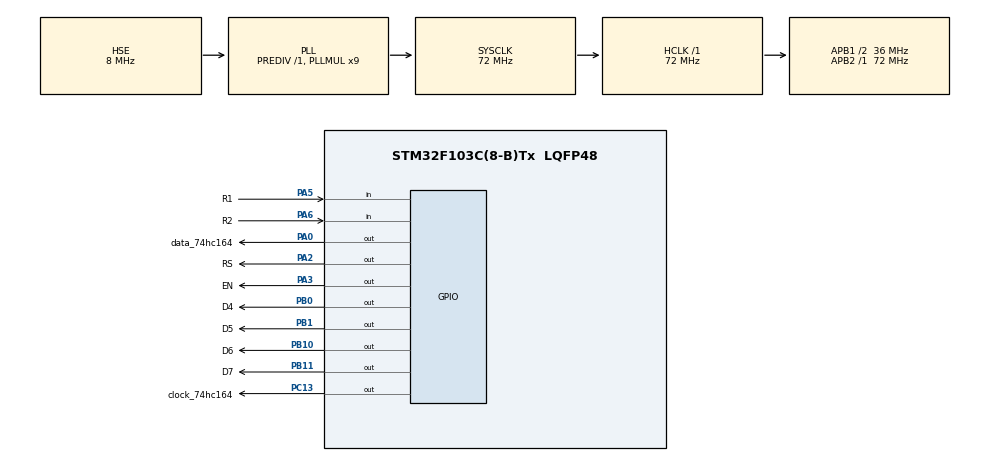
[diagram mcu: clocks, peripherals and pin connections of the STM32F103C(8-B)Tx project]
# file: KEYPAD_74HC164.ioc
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Mcu.Family=STM32F1
Mcu.Name=STM32F103C(8-B)Tx
Mcu.Package=LQFP48
NVIC.PriorityGroup=NVIC_PRIORITYGROUP_4
PA0-WKUP.GPIO_Label=data_74hc164
PA0-WKUP.Signal=GPIO_Output
PA13.Mode=Serial_Wire
PA13.Signal=SYS_JTMS-SWDIO
PA14.Mode=Serial_Wire
PA14.Signal=SYS_JTCK-SWCLK
PA2.GPIO_Label=RS
PA2.Signal=GPIO_Output
PA3.GPIO_Label=EN
PA3.Signal=GPIO_Output
PA5.GPIO_Label=R1
PA5.GPIO_PuPd=GPIO_PULLUP
PA5.Signal=GPIO_Input
PA6.GPIO_Label=R2
PA6.GPIO_PuPd=GPIO_PULLUP
PA6.Signal=GPIO_Input
PB0.GPIO_Label=D4
PB0.Signal=GPIO_Output
PB1.GPIO_Label=D5
PB1.Signal=GPIO_Output
PB10.GPIO_Label=D6
PB10.Signal=GPIO_Output
PB11.GPIO_Label=D7
PB11.Signal=GPIO_Output
PC13-TAMPER-RTC.GPIO_Label=clock_74hc164
PC13-TAMPER-RTC.Signal=GPIO_Output
PD0-OSC_IN.Mode=HSE-External-Oscillator
PD0-OSC_IN.Signal=RCC_OSC_IN
PD1-OSC_OUT.Mode=HSE-External-Oscillator
PD1-OSC_OUT.Signal=RCC_OSC_OUT
ProjectManager.HeapSize=0x200
ProjectManager.StackSize=0x400
ProjectManager.TargetToolchain=MDK-ARM V5
RCC.AHBFreq_Value=72000000
RCC.APB1CLKDivider=RCC_HCLK_DIV2
RCC.APB1Freq_Value=36000000
RCC.APB1TimFreq_Value=72000000
RCC.APB2Freq_Value=72000000
RCC.APB2TimFreq_Value=72000000
RCC.HCLKFreq_Value=72000000
RCC.PLLMUL=RCC_PLL_MUL9
RCC.PLLSourceVirtual=RCC_PLLSOURCE_HSE
RCC.SYSCLKFreq_VALUE=72000000
RCC.SYSCLKSource=RCC_SYSCLKSOURCE_PLLCLK
RCC.USBFreq_Value=72000000
board=KEYPAD_74HC164

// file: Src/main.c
/**
  ******************************************************************************
  * @file           : main.c
  * @brief          : Main program body
  ******************************************************************************
  ** This notice applies to any and all portions of this file
  * that are not between comment pairs USER CODE BEGIN and
  * USER CODE END. Other portions of this file, whether
  * inserted by the user or by software development tools
  * are owned by their respective copyright owners.
  *
  * COPYRIGHT(c) 2020 STMicroelectronics
  *
  * Redistribution and use in source and binary forms, with or without modification,
  * are permitted provided that the following conditions are met:
  *   1. Redistributions of source code must retain the above copyright notice,
  *      this list of conditions and the following disclaimer.
  *   2. Redistributions in binary form must reproduce the above copyright notice,
  *      this list of conditions and the following disclaimer in the documentation
  *      and/or other materials provided with the distribution.
  *   3. Neither the name of STMicroelectronics nor the names of its contributors
  *      may be used to endorse or promote products derived from this software
  *      without specific prior written permission.
  *
  * THIS SOFTWARE IS PROVIDED BY THE COPYRIGHT HOLDERS AND CONTRIBUTORS "AS IS"
  * AND ANY EXPRESS OR IMPLIED WARRANTIES, INCLUDING, BUT NOT LIMITED TO, THE
  * IMPLIED WARRANTIES OF MERCHANTABILITY AND FITNESS FOR A PARTICULAR PURPOSE ARE
  * DISCLAIMED. IN NO EVENT SHALL THE COPYRIGHT HOLDER OR CONTRIBUTORS BE LIABLE
  * FOR ANY DIRECT, INDIRECT, INCIDENTAL, SPECIAL, EXEMPLARY, OR CONSEQUENTIAL
  * DAMAGES (INCLUDING, BUT NOT LIMITED TO, PROCUREMENT OF SUBSTITUTE GOODS OR
  * SERVICES; LOSS OF USE, DATA, OR PROFITS; OR BUSINESS INTERRUPTION) HOWEVER
  * CAUSED AND ON ANY THEORY OF LIABILITY, WHETHER IN CONTRACT, STRICT LIABILITY,
  * OR TORT (INCLUDING NEGLIGENCE OR OTHERWISE) ARISING IN ANY WAY OUT OF THE USE
  * OF THIS SOFTWARE, EVEN IF ADVISED OF THE POSSIBILITY OF SUCH DAMAGE.
  *
  ******************************************************************************
  */
#include "main.h"
#include "stm32f1xx_hal.h"

/* USER CODE BEGIN Includes */
#include "dwt_delay.h"
/* USER CODE END Includes */

/* USER CODE BEGIN PV */
/* Private variables ---------------------------------------------------------*/
enum BIT
{
	LOW,
	HIGH
};
uint8_t key,key_last;

uint8_t lcd_col = 1,lcd_row = 1;
char key_str[2];

/* USER CODE END PV */

void SystemClock_Config(void);
static void MX_GPIO_Init(void);

/* USER CODE BEGIN PFP */
/* Private function prototypes -----------------------------------------------*/

/* USER CODE END PFP */

/* USER CODE BEGIN 0 */

void ShiftBit(enum BIT bit)
{
	HAL_GPIO_WritePin(data_74hc164_GPIO_Port,data_74hc164_Pin,(GPIO_PinState)bit);
	DWT_Delay(5);
	HAL_GPIO_WritePin(clock_74hc164_GPIO_Port,clock_74hc164_Pin,1);
	DWT_Delay(5);
	HAL_GPIO_WritePin(clock_74hc164_GPIO_Port,clock_74hc164_Pin,0);
	DWT_Delay(5);
}
void ShiftByte(uint8_t byte)
{
	uint8_t i,bit;
	for(i = 7;i!=255;i--)
	{
		bit = byte & (1<<i);
		if(bit)
			ShiftBit(1);
		else
			ShiftBit(0);
	}
}

uint8_t GetKeyPad()
{
	ShiftByte(0xff);

	ShiftBit(0);
	if(HAL_GPIO_ReadPin(R1_GPIO_Port,R1_Pin) == 0)
	{
		while(!HAL_GPIO_ReadPin(R1_GPIO_Port,R1_Pin));
		return '1';
	}
	if(HAL_GPIO_ReadPin(R2_GPIO_Port,R2_Pin) == 0)
	{
		while(!HAL_GPIO_ReadPin(R2_GPIO_Port,R2_Pin));
		return '7';
	}

	ShiftBit(1);
	if(HAL_GPIO_ReadPin(R1_GPIO_Port,R1_Pin) == 0)
	{
		while(!HAL_GPIO_ReadPin(R1_GPIO_Port,R1_Pin));
		return '2';
	}
	if(HAL_GPIO_ReadPin(R2_GPIO_Port,R2_Pin) == 0)
	{
		while(!HAL_GPIO_ReadPin(R2_GPIO_Port,R2_Pin));
		return '8';
	}

	ShiftBit(1);
	if(HAL_GPIO_ReadPin(R1_GPIO_Port,R1_Pin) == 0)
	{
		while(!HAL_GPIO_ReadPin(R1_GPIO_Port,R1_Pin));
		return '3';
	}
	if(HAL_GPIO_ReadPin(R2_GPIO_Port,R2_Pin) == 0)
	{
		while(!HAL_GPIO_ReadPin(R2_GPIO_Port,R2_Pin));
		return '9';
	}

	ShiftBit(1);
	if(HAL_GPIO_ReadPin(R1_GPIO_Port,R1_Pin) == 0)
	{
		while(!HAL_GPIO_ReadPin(R1_GPIO_Port,R1_Pin));
		return 'X';
	}
	if(HAL_GPIO_ReadPin(R2_GPIO_Port,R2_Pin) == 0)
	{
		while(!HAL_GPIO_ReadPin(R2_GPIO_Port,R2_Pin));
		return 'v';
	}

	ShiftBit(1);
	if(HAL_GPIO_ReadPin(R1_GPIO_Port,R1_Pin) == 0)
	{
		while(!HAL_GPIO_ReadPin(R1_GPIO_Port,R1_Pin));
		return '4';
	}
	if(HAL_GPIO_ReadPin(R2_GPIO_Port,R2_Pin) == 0)
	{
		while(!HAL_GPIO_ReadPin(R2_GPIO_Port,R2_Pin));
		return '<';
	}

	ShiftBit(1);
	if(HAL_GPIO_ReadPin(R1_GPIO_Port,R1_Pin) == 0)
	{
		while(!HAL_GPIO_ReadPin(R1_GPIO_Port,R1_Pin));
		return '5';
	}
	if(HAL_GPIO_ReadPin(R2_GPIO_Port,R2_Pin) == 0)
	{
		while(!HAL_GPIO_ReadPin(R2_GPIO_Port,R2_Pin));
		return '0';
	}

	ShiftBit(1);
	if(HAL_GPIO_ReadPin(R1_GPIO_Port,R1_Pin) == 0)
	{
		while(!HAL_GPIO_ReadPin(R1_GPIO_Port,R1_Pin));
		return '6';
	}
	if(HAL_GPIO_ReadPin(R2_GPIO_Port,R2_Pin) == 0)
	{
		while(!HAL_GPIO_ReadPin(R2_GPIO_Port,R2_Pin));
		return '>';
	}

	ShiftBit(1);
	if(HAL_GPIO_ReadPin(R1_GPIO_Port,R1_Pin) == 0)
	{
		while(!HAL_GPIO_ReadPin(R1_GPIO_Port,R1_Pin));
		return '^';
	}
	if(HAL_GPIO_ReadPin(R2_GPIO_Port,R2_Pin) == 0)
	{
		while(!HAL_GPIO_ReadPin(R2_GPIO_Port,R2_Pin));
		return 'O';
	}

	return 1;
}

/* USER CODE END 0 */

int main(void)
{

  /* MCU Configuration----------------------------------------------------------*/

  /* Reset of all peripherals, Initializes the Flash interface and the Systick. */
  HAL_Init();

  /* Configure the system clock */
  SystemClock_Config();

  /* Initialize all configured peripherals */
  MX_GPIO_Init();
  /* USER CODE BEGIN 2 */
	ShiftByte(0x57);
	DWT_Init();
  /* USER CODE END 2 */

  /* Infinite loop */
  /* USER CODE BEGIN WHILE */
  while (1)
  {
		key = GetKeyPad();
		if(key != 1)
		{
			key_last = key;
			sprintf(key_str,"%c",(char)key);

			lcd_col++;
			if(lcd_col == 17)
			{
				lcd_col = 1;
				lcd_row++;
				if(lcd_row == 3)
				{
					lcd_row = 1;
				}

			}
		}
  /* USER CODE END WHILE */

  }

}

void SystemClock_Config(void)
{

  RCC_OscInitTypeDef RCC_OscInitStruct;
  RCC_ClkInitTypeDef RCC_ClkInitStruct;

    /**Initializes the CPU, AHB and APB busses clocks
    */
  RCC_OscInitStruct.OscillatorType = RCC_OSCILLATORTYPE_HSE;
  RCC_OscInitStruct.HSEState = RCC_HSE_ON;
  RCC_OscInitStruct.HSEPredivValue = RCC_HSE_PREDIV_DIV1;
  RCC_OscInitStruct.HSIState = RCC_HSI_ON;
  RCC_OscInitStruct.PLL.PLLState = RCC_PLL_ON;
  RCC_OscInitStruct.PLL.PLLSource = RCC_PLLSOURCE_HSE;
  RCC_OscInitStruct.PLL.PLLMUL = RCC_PLL_MUL9;
  if (HAL_RCC_OscConfig(&RCC_OscInitStruct) != HAL_OK)
  {
    _Error_Handler(__FILE__, __LINE__);
  }

    /**Initializes the CPU, AHB and APB busses clocks
    */
  RCC_ClkInitStruct.ClockType = RCC_CLOCKTYPE_HCLK|RCC_CLOCKTYPE_SYSCLK
                              |RCC_CLOCKTYPE_PCLK1|RCC_CLOCKTYPE_PCLK2;
  RCC_ClkInitStruct.SYSCLKSource = RCC_SYSCLKSOURCE_PLLCLK;
  RCC_ClkInitStruct.AHBCLKDivider = RCC_SYSCLK_DIV1;
  RCC_ClkInitStruct.APB1CLKDivider = RCC_HCLK_DIV2;
  RCC_ClkInitStruct.APB2CLKDivider = RCC_HCLK_DIV1;

  if (HAL_RCC_ClockConfig(&RCC_ClkInitStruct, FLASH_LATENCY_2) != HAL_OK)
  {
    _Error_Handler(__FILE__, __LINE__);
  }

    /**Configure the Systick interrupt time
    */
  HAL_SYSTICK_Config(HAL_RCC_GetHCLKFreq()/1000);

    /**Configure the Systick
    */
  HAL_SYSTICK_CLKSourceConfig(SYSTICK_CLKSOURCE_HCLK);

  /* SysTick_IRQn interrupt configuration */
  HAL_NVIC_SetPriority(SysTick_IRQn, 0, 0);
}

/** Configure pins as
        * Analog
        * Input
        * Output
        * EVENT_OUT
        * EXTI
*/
static void MX_GPIO_Init(void)
{

  GPIO_InitTypeDef GPIO_InitStruct;

  /* GPIO Ports Clock Enable */
  __HAL_RCC_GPIOC_CLK_ENABLE();
  __HAL_RCC_GPIOD_CLK_ENABLE();
  __HAL_RCC_GPIOA_CLK_ENABLE();
  __HAL_RCC_GPIOB_CLK_ENABLE();

  /*Configure GPIO pin Output Level */
  HAL_GPIO_WritePin(clock_74hc164_GPIO_Port, clock_74hc164_Pin, GPIO_PIN_RESET);

  /*Configure GPIO pin Output Level */
  HAL_GPIO_WritePin(GPIOA, data_74hc164_Pin|RS_Pin|EN_Pin, GPIO_PIN_RESET);

  /*Configure GPIO pin Output Level */
  HAL_GPIO_WritePin(GPIOB, D4_Pin|D5_Pin|D6_Pin|D7_Pin, GPIO_PIN_RESET);

  /*Configure GPIO pin : clock_74hc164_Pin */
  GPIO_InitStruct.Pin = clock_74hc164_Pin;
  GPIO_InitStruct.Mode = GPIO_MODE_OUTPUT_PP;
  GPIO_InitStruct.Speed = GPIO_SPEED_FREQ_LOW;
  HAL_GPIO_Init(clock_74hc164_GPIO_Port, &GPIO_InitStruct);

  /*Configure GPIO pins : data_74hc164_Pin RS_Pin EN_Pin */
  GPIO_InitStruct.Pin = data_74hc164_Pin|RS_Pin|EN_Pin;
  GPIO_InitStruct.Mode = GPIO_MODE_OUTPUT_PP;
  GPIO_InitStruct.Speed = GPIO_SPEED_FREQ_LOW;
  HAL_GPIO_Init(GPIOA, &GPIO_InitStruct);

  /*Configure GPIO pins : R1_Pin R2_Pin */
  GPIO_InitStruct.Pin = R1_Pin|R2_Pin;
  GPIO_InitStruct.Mode = GPIO_MODE_INPUT;
  GPIO_InitStruct.Pull = GPIO_PULLUP;
  HAL_GPIO_Init(GPIOA, &GPIO_InitStruct);

  /*Configure GPIO pins : D4_Pin D5_Pin D6_Pin D7_Pin */
  GPIO_InitStruct.Pin = D4_Pin|D5_Pin|D6_Pin|D7_Pin;
  GPIO_InitStruct.Mode = GPIO_MODE_OUTPUT_PP;
  GPIO_InitStruct.Speed = GPIO_SPEED_FREQ_LOW;
  HAL_GPIO_Init(GPIOB, &GPIO_InitStruct);

}

void _Error_Handler(char *file, int line)
{
  while(1)
  {
  }
}

/************************ (C) COPYRIGHT STMicroelectronics *****END OF FILE****/
